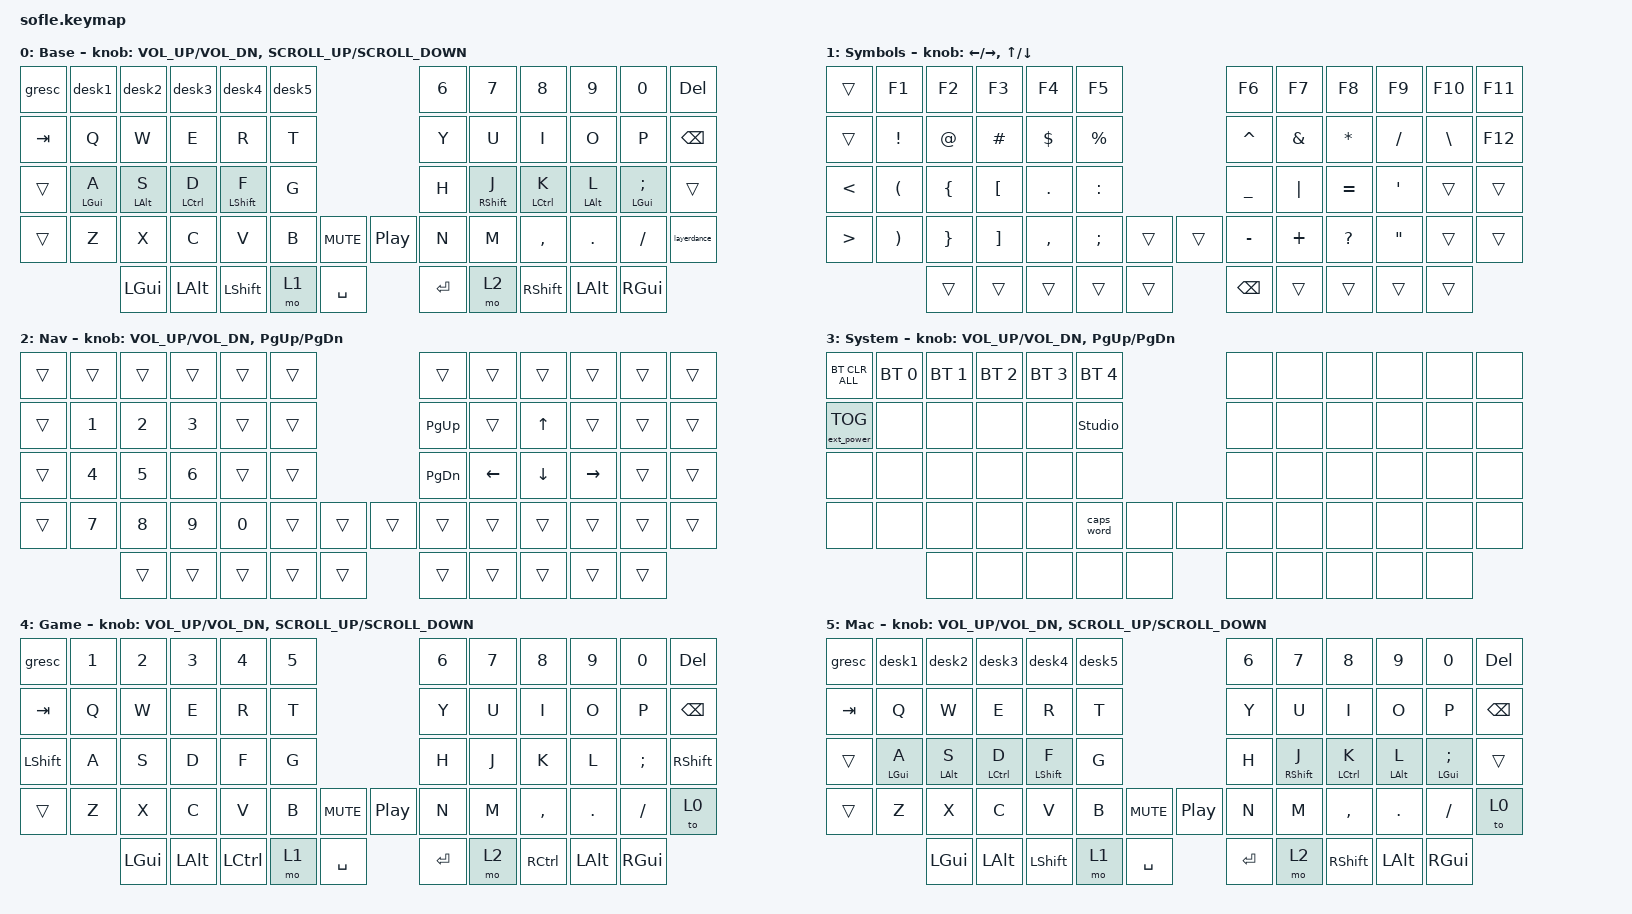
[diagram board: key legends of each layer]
/*
 * Copyright (c) 2020 The ZMK Contributors
 *
 * SPDX-License-Identifier: MIT
 */

#include <behaviors.dtsi>
#include <dt-bindings/zmk/bt.h>
#include <dt-bindings/zmk/ext_power.h>
#include <dt-bindings/zmk/keys.h>

// custom helpers
#include "zmk-helpers/helper.h"
#include "zmk-helpers/key-labels/sofle.h"
#include "zmk-helpers/unicode-chars/french.dtsi"
#include "zmk-helpers/unicode-chars/currency.dtsi"

#define BASE 0
#define LOWER 1
#define RAISE 2
#define ADJUST 3
#define GAME 4
#define MAC 5

#define KEYS_L LT0 LT1 LT2 LT3 LT4 LM0 LM1 LM2 LM3 LM4 LB0 LB1 LB2 LB3 LB4  // left hand
#define KEYS_R RT0 RT1 RT2 RT3 RT4 RM0 RM1 RM2 RM3 RM4 RB0 RB1 RB2 RB3 RB4  // right hand
#define THUMBS LH4 LH3 LH2 LH1 LH0 RH0 RH1 RH2 RH3 RH4  // thumbs

#define QUICK_TAP_MS 175

ZMK_TAP_DANCE(copy_cut, bindings = <&kp LC(INS)>, <&kp LC(X)>;
              tapping-term-ms = <150>;)
ZMK_COMBO(copy_cut, &copy_cut,   LB2 LB3, ALL)  // copy on tap, cut on double-tap, active on all layers
ZMK_COMBO(paste,    &kp LC(V), LB1 LB2, ALL)
ZMK_COMBO(undo ,    &kp LC(Z), LB4 LB3, ALL)
ZMK_COMBO(redo ,    &kp LC(LS(Z)), LB4 LB1, ALL)

ZMK_TAP_DANCE(layerdance, bindings = <&tog 4>, <&tog 5>;
              tapping-term-ms = <200>;)

ZMK_TAP_DANCE(desk1, bindings = <&kp N1>, <&kp LG(N1)>;
              tapping-term-ms = <200>;)
ZMK_TAP_DANCE(desk2, bindings = <&kp N2>, <&kp LG(N2)>;
              tapping-term-ms = <200>;)
ZMK_TAP_DANCE(desk3, bindings = <&kp N3>, <&kp LG(N3)>;
              tapping-term-ms = <200>;)
ZMK_TAP_DANCE(desk4, bindings = <&kp N4>, <&kp LG(N4)>;
              tapping-term-ms = <200>;)
ZMK_TAP_DANCE(desk5, bindings = <&kp N5>, <&kp LG(N5)>;
              tapping-term-ms = <200>;)

ZMK_HOLD_TAP(hml,
    flavor = "balanced";
    tapping-term-ms = <200>;
    require-prior-idle-ms = <QUICK_TAP_MS>;
    hold-trigger-key-positions = <KEYS_R THUMBS>;
    hold-trigger-on-release;
    bindings = <&kp>, <&kp>;
)

ZMK_HOLD_TAP(hmr,
    flavor = "balanced";
    tapping-term-ms = <200>;
    require-prior-idle-ms = <QUICK_TAP_MS>;
    hold-trigger-key-positions = <KEYS_L THUMBS>;
    hold-trigger-on-release;
    bindings = <&kp>, <&kp>;
)


/ {
    // Activate ADJUST layer by pressing raise and lower

    conditional_layers {
        compatible = "zmk,conditional-layers";

        adjust_layer {
            if-layers = <LOWER RAISE>;
            then-layer = <ADJUST>;
        };
    };

    combos {
        compatible = "zmk,combos";

        backspace {
            bindings = <&kp BACKSPACE>;
            key-positions = <RM1 RM2>;
        };

        delete {
            bindings = <&kp DELETE>;
            key-positions = <27 33>;
        };

        esc {
            bindings = <&kp ESCAPE>;
            key-positions = <25 41>;
        };

        goequal {
            bindings = <&goequal>;
            key-positions = <LM1 LM2>;
        };

        saveandquit {
            bindings = <&savequit>;
            key-positions = <LT3 LT4>;
        };
    };

    behaviors {
        caps: caps {
            compatible = "zmk,behavior-caps-word";
            label = "CAPS";
            #binding-cells = <0>;
            continue-list = <POUND MINUS BACKSPACE UNDERSCORE>;
        };
    };

    macros {
        goequal: goequal {
            compatible = "zmk,behavior-macro";
            #binding-cells = <0>;
            bindings = <&kp COLON &kp EQUAL>;
            label = "GOEQUAL";
        };

        savequit: savequit {
            compatible = "zmk,behavior-macro";
            #binding-cells = <0>;
            bindings = <&kp COLON &kp W &kp Q>;
            label = "SAVEQUIT";
        };
    };

    keymap {
        compatible = "zmk,keymap";

        default_layer {
            display-name = "Base";
            bindings = <
&gresc          &desk1        &desk2        &desk3        &desk4        &desk5                                  &kp N6  &kp N7           &kp N8         &kp N9         &kp N0          &kp DEL
&kp TAB         &kp Q         &kp W         &kp E         &kp R         &kp T                                   &kp Y   &kp U            &kp I          &kp O          &kp P           &kp BSPC
&trans          &hml LGUI A   &hml LALT S   &hml LCTRL D  &hml LSHFT F  &kp G                                   &kp H   &hmr RSHFT J     &hmr LCTRL K   &hmr LALT L    &hmr LGUI SEMI  &trans
&trans     &kp Z         &kp X         &kp C         &kp V         &kp B   &kp C_MUTE    &kp C_PLAY_PAUSE       &kp N   &kp M            &kp COMMA      &kp DOT        &kp FSLH        &layerdance
                              &kp LGUI      &kp LALT      &kp LSHFT     &mo 1   &kp SPACE     &kp ENTER         &mo 2   &kp RSHFT        &kp LALT       &kp RGUI
            >;

            sensor-bindings =
                <&inc_dec_kp C_VOL_UP C_VOL_DN>,
                <&inc_dec_kp K_SCROLL_UP K_SCROLL_DOWN>;
        };

        lower_layer {
            display-name = "Symbols";
            bindings = <
&trans            &kp F1                 &kp F2           &kp F3             &kp F4      &kp F5                                &kp F6     &kp F7         &kp F8        &kp F9             &kp F10        &kp F11
&trans            &kp EXCL               &kp AT           &kp POUND          &kp DOLLAR  &kp PERCENT                           &kp CARET  &kp AMPERSAND  &kp ASTRK     &kp SLASH          &kp BACKSLASH  &kp F12
&kp LESS_THAN     &kp LEFT_PARENTHESIS   &kp LEFT_BRACE   &kp LEFT_BRACKET   &kp DOT     &kp COLON                             &kp UNDER  &kp PIPE       &kp EQUAL     &kp SINGLE_QUOTE   &trans         &trans
&kp GREATER_THAN  &kp RIGHT_PARENTHESIS  &kp RIGHT_BRACE  &kp RIGHT_BRACKET  &kp COMMA   &kp SEMI     &trans    &trans         &kp MINUS  &kp PLUS       &kp QUESTION  &kp DOUBLE_QUOTES  &trans         &trans
                                         &trans           &trans             &trans      &trans       &trans    &kp BACKSPACE  &trans     &trans         &trans        &trans
            >;

            sensor-bindings =
                <&inc_dec_kp LEFT_ARROW RIGHT_ARROW>,
                <&inc_dec_kp UP_ARROW DOWN_ARROW>;
        };

        raise_layer {
            display-name = "Nav";
            bindings = <
&trans  &trans      &trans     &trans       &trans       &trans                      &trans     &trans    &trans    &trans     &trans   &trans
&trans  &kp N1      &kp N2     &kp N3       &trans       &trans                      &kp PG_UP  &trans    &kp UP    &trans     &trans   &trans
&trans  &kp N4      &kp N5     &kp N6       &trans       &trans                      &kp PG_DN  &kp LEFT  &kp DOWN  &kp RIGHT  &trans  &trans
&trans  &kp N7      &kp N8     &kp N9       &kp N0       &trans    &trans    &trans  &trans     &trans    &trans    &trans     &trans   &trans
                    &trans     &trans       &trans       &trans    &trans    &trans  &trans     &trans    &trans    &trans
            >;

            sensor-bindings = <&inc_dec_kp C_VOL_UP C_VOL_DN &inc_dec_kp PG_UP PG_DN>;
        };

        adjust_layer {
            display-name = "System";
            bindings = <
&bt BT_CLR_ALL     &bt BT_SEL 0  &bt BT_SEL 1  &bt BT_SEL 2  &bt BT_SEL 3  &bt BT_SEL 4                    &none  &none  &none  &none  &none  &none
&ext_power EP_TOG  &none         &none         &none         &none         &studio_unlock                  &none  &none  &none  &none  &none  &none
&none              &none         &none         &none         &none         &none                           &none  &none  &none  &none  &none  &none
&none              &none         &none         &none         &none         &caps_word      &none    &none  &none  &none  &none  &none  &none  &none
                                 &none         &none         &none         &none           &none    &none  &none  &none  &none  &none
            >;

            sensor-bindings = <&inc_dec_kp C_VOL_UP C_VOL_DN &inc_dec_kp PG_UP PG_DN>;
        };

        game_layer {
            display-name = "Game";
            bindings = <
&gresc          &kp N1  &kp N2    &kp N3    &kp N4     &kp N5                                  &kp N6  &kp N7     &kp N8     &kp N9    &kp N0    &kp DEL
&kp TAB         &kp Q   &kp W     &kp E     &kp R      &kp T                                   &kp Y   &kp U      &kp I      &kp O     &kp P     &kp BSPC
&kp LEFT_SHIFT  &kp A   &kp S     &kp D     &kp F      &kp G                                   &kp H   &kp J      &kp K      &kp L     &kp SEMI  &kp RIGHT_SHIFT
&trans           &kp Z   &kp X     &kp C     &kp V      &kp B   &kp C_MUTE    &kp C_PLAY_PAUSE  &kp N   &kp M      &kp COMMA  &kp DOT   &kp FSLH  &to 0
                        &kp LGUI  &kp LALT  &kp LCTRL  &mo 1   &kp SPACE     &kp ENTER         &mo 2   &kp RCTRL  &kp LALT   &kp RGUI
            >;

            sensor-bindings =
                <&inc_dec_kp C_VOL_UP C_VOL_DN>,
                <&inc_dec_kp K_SCROLL_UP K_SCROLL_DOWN>;
        };


        mac {
            display-name = "Mac";
            bindings = <
&gresc          &desk1        &desk2        &desk3        &desk4        &desk5                                  &kp N6  &kp N7           &kp N8         &kp N9         &kp N0          &kp DEL
&kp TAB         &kp Q         &kp W         &kp E         &kp R         &kp T                                   &kp Y   &kp U            &kp I          &kp O          &kp P           &kp BSPC
&trans          &hml LGUI A   &hml LALT S   &hml LCTRL D  &hml LSHFT F  &kp G                                   &kp H   &hmr RSHFT J     &hmr LCTRL K   &hmr LALT L    &hmr LGUI SEMI  &trans
&trans           &kp Z         &kp X         &kp C         &kp V         &kp B   &kp C_MUTE    &kp C_PLAY_PAUSE  &kp N   &kp M            &kp COMMA      &kp DOT        &kp FSLH       &to 0
                              &kp LGUI      &kp LALT      &kp LSHFT     &mo 1   &kp SPACE     &kp ENTER         &mo 2   &kp RSHFT        &kp LALT       &kp RGUI
            >;

            sensor-bindings =
                <&inc_dec_kp C_VOL_UP C_VOL_DN>,
                <&inc_dec_kp K_SCROLL_UP K_SCROLL_DOWN>;
        };
    };
};
